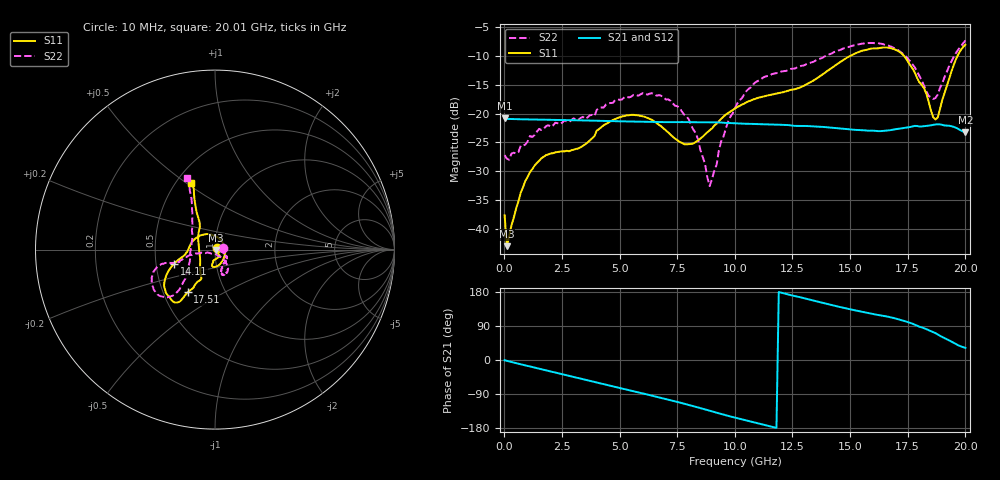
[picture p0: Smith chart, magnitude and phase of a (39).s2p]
! Hittite Microwave Corporation
! 2 Elizabeth Drive
! Chelmsford, MA 01824
! http://www.hittite.com
! Tel: 978-250-3343
! Fax: 978-250-3373
! Device:  HMC424LP3
! Description: 0.5 dB GaAs MMIC 6-Bit Digital Attenuator
! Frequency:  DC -  13.00 GHz
! Package:  LP3  - 3x3 mm Quad Flatpack No-Lead (QFN) Plastic Package: 16 pin
! Ports:  2 RF, 7 DC
!  Pad  1  = Ground
!  Pad  2  = RF IN  = Port 1
!  Pad  3  = Ground
!  Pad  4  = V6
!  Pad  5  = V5
!  Pad  6  = V4
!  Pad  7  = V3
!  Pad  8  = V2
!  Pad  9  = V1
!  Pad 10  = Ground
!  Pad 11  = RF OUT  = Port 2
!  Pad 12  = Ground
!  Pad 15  = VEE
! Control:  -5 Volt control voltage
! State:  37
! Attenuation:  18.5 dB
! Voltages:  Vdd = -5.00 Volts  Idd =  -2.402 mA
!  V1  = -5.00 Volts  I1  =  -1.0 uA
!  V2  = 0.00 Volts  I2  =  29.0 uA
!  V3  = -5.00 Volts  I3  =  -1.0 uA
!  V4  = 0.00 Volts  I4  =  30.0 uA
!  V5  = 0.00 Volts  I5  =  29.0 uA
!  V6  = -5.00 Volts  I6  =  -1.0 uA
! Data:  The device was measured on evaluation board 105354-1.
!  Data was collected using a calibrated network analyzer.
!  The evaluation circuit board was modeled and simulated.  This was use
!  to removed the evaluation board circuit from the measured data.
!  The reference plane is the edge of the package pin.
! Misc:  Lot xxxx, Unit 1
!  Application 20120001, Data collected in Application 20090083
! Date Measured:  2009-09-15
! Date:  2012-05-14  MJV
! Note:
!  Hittite supplies this data as a sample of measured data at the package pin
!  for this product.  Your particular data for this product may vary.
!  Data was taken at 25 degrees C.
!  Hittite reserves the right to change this data at anytime.
# GHz S MA R 50
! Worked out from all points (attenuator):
!   201 points, 10 MHz to 20.01 GHz, reference 50 ohm
!   highest |S21| = -20.83 dB at 10 MHz (marker M1); lowest = -23.3 dB at 20.01 GHz (marker M2)
!   lowest |S11| = -42.9 dB at 110 MHz (marker M3), VSWR 1.01, Z = 50.7 - j0.206 ohm
!   |S11| at or under -10 dB: start of sweep to 15.04 GHz; 17.34 GHz to 19.67 GHz (2.338 GHz wide, 12.6 % of centre)
!   |S22| runs from -32.5 to -7.4 dB; largest |S21 - S12| = 0.002
!   S11 on the Smith chart (normalised r, x): 10 MHz: 1.02, +0.01; 14.11 GHz: 0.62, -0.10; 17.51 GHz: 0.66, -0.34; 20.01 GHz: 0.60, +0.52
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0.01  0.01321 33.7  0.09084 -0.5  0.08949 -1.5  0.0437 9.1
0.11  0.007136 -16.6  0.08986 -2.3  0.08979 -2.1  0.04062 0.6
0.71  0.02068 -51.0  0.08919 -11.3  0.08904 -11.4  0.05283 -21.1
1.31  0.03546 -52.7  0.08866 -20.2  0.08856 -20.3  0.06506 -30.4
3.41  0.05263 -85.7  0.08725 -50.9  0.08711 -51.0  0.09362 -54.2
5.11  0.0944 -99.0  0.08568 -75.4  0.0855 -75.4  0.1325 -75.0
6.71  0.07985 -63.7  0.08451 -98.4  0.0843 -98.4  0.1442 -63.3
8.01  0.05438 17.6  0.0842 -118.7  0.08399 -118.7  0.08839 -48.8
8.41  0.05863 48.8  0.08401 -125.3  0.08384 -125.3  0.05948 -49.7
8.91  0.07163 82.5  0.08402 -133.8  0.0839 -133.8  0.0236 -103.3
9.41  0.09003 108.8  0.08361 -142.4  0.08345 -142.5  0.05767 -159.6
10.01  0.1101 133.0  0.08244 -152.1  0.08235 -152.1  0.1113 -168.8
11.21  0.1397 168.6  0.08078 -170.2  0.0806 -170.2  0.2035 -162.7
13.41  0.1925 -166.7  0.07744 156.9  0.07724 156.8  0.2796 -164.7
14.11  0.2403 -161.0  0.07578 146.3  0.07571 146.4  0.3248 -163.9
15.51  0.3483 -144.6  0.07174 127.5  0.07168 127.5  0.4013 -151.2
16.71  0.3699 -127.3  0.0716 113.4  0.07158 113.5  0.3841 -136.0
17.51  0.2828 -122.6  0.07592 100.1  0.07577 100.1  0.2981 -131.8
18.41  0.1277 -130.9  0.07853 78.9  0.07838 78.9  0.1419 -165.3
18.71  0.08885 -170.0  0.08047 70.9  0.08038 70.9  0.1361 162.5
19.61  0.2975 112.5  0.07516 41.6  0.07512 41.6  0.3361 113.8
20.01  0.3941 109.4  0.06875 31.8  0.0685 31.8  0.4281 111.2
